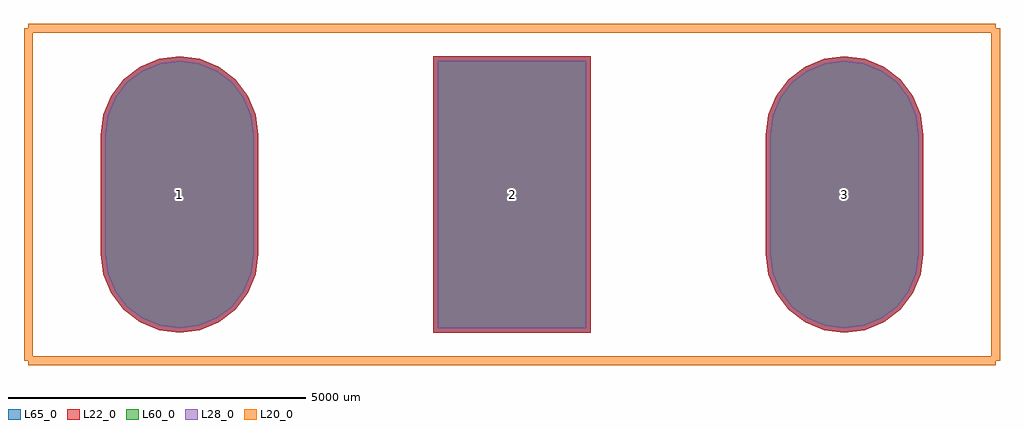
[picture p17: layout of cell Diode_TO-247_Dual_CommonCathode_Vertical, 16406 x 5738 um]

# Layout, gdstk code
import gdstk
lib = gdstk.Library(unit=1e-6, precision=1e-09)
def R(c, l, rs):  # rectangles x0, y0, x1, y1
    for r in rs: c.add(gdstk.rectangle(r[:2], r[2:], *l))
def P(c, l, *ps):  # polygons
    for p in ps: c.add(gdstk.Polygon(p, *l))
L20_0 = (20, 0)
L22_0 = (22, 0)
L28_0 = (28, 0)
L60_0 = (60, 0)
L65_0 = (65, 0)

diode_to_247_dual_common = lib.new_cell('Diode_TO-247_Dual_CommonCathode_Vertical')
R(diode_to_247_dual_common, L22_0, [(4263.32,-2325.44,6912.68,2325.44)])
P(diode_to_247_dual_common, L22_0, [(11176,-2325.44),(11518.852,-2280.303),(11838.34,-2147.967),(12112.69,-1937.45),(12323.207,-1663.1),(12455.543,-1343.612),(12500.68,-1000.76),(12500.68,1000.76),(12455.543,1343.612),(12323.207,1663.1),(12112.69,1937.45),(11838.34,2147.967),(11518.852,2280.303),(11176,2325.44),(10833.148,2280.303),(10513.66,2147.967),(10239.31,1937.45),(10028.793,1663.1),(9896.457,1343.612),(9851.32,1000.76),(9851.32,-1000.76),(9896.457,-1343.612),(10028.793,-1663.1),(10239.31,-1937.45),(10513.66,-2147.967),(10833.148,-2280.303)],
  [(0,-2325.44),(342.852,-2280.303),(662.34,-2147.967),(936.69,-1937.45),(1147.207,-1663.1),(1279.543,-1343.612),(1324.68,-1000.76),(1324.68,1000.76),(1279.543,1343.612),(1147.207,1663.1),(936.69,1937.45),(662.34,2147.967),(342.852,2280.303),(0,2325.44),(-342.852,2280.303),(-662.34,2147.967),(-936.69,1937.45),(-1147.207,1663.1),(-1279.543,1343.612),(-1324.68,1000.76),(-1324.68,-1000.76),(-1279.543,-1343.612),(-1147.207,-1663.1),(-936.69,-1937.45),(-662.34,-2147.967),(-342.852,-2280.303)])
R(diode_to_247_dual_common, L28_0, [(4338.32,-2250.44,6837.68,2250.44)])
P(diode_to_247_dual_common, L28_0, [(11176,-2250.44),(11499.441,-2207.858),(11800.84,-2083.015),(12059.657,-1884.417),(12258.255,-1625.6),(12383.098,-1324.201),(12425.68,-1000.76),(12425.68,1000.76),(12383.098,1324.201),(12258.255,1625.6),(12059.657,1884.417),(11800.84,2083.015),(11499.441,2207.858),(11176,2250.44),(10852.559,2207.858),(10551.16,2083.015),(10292.343,1884.417),(10093.745,1625.6),(9968.902,1324.201),(9926.32,1000.76),(9926.32,-1000.76),(9968.902,-1324.201),(10093.745,-1625.6),(10292.343,-1884.417),(10551.16,-2083.015),(10852.559,-2207.858)],
  [(0,-2250.44),(323.441,-2207.858),(624.84,-2083.015),(883.657,-1884.417),(1082.255,-1625.6),(1207.098,-1324.201),(1249.68,-1000.76),(1249.68,1000.76),(1207.098,1324.201),(1082.255,1625.6),(883.657,1884.417),(624.84,2083.015),(323.441,2207.858),(0,2250.44),(-323.441,2207.858),(-624.84,2083.015),(-883.657,1884.417),(-1082.255,1625.6),(-1207.098,1324.201),(-1249.68,1000.76),(-1249.68,-1000.76),(-1207.098,-1324.201),(-1082.255,-1625.6),(-883.657,-1884.417),(-624.84,-2083.015),(-323.441,-2207.858)])
R(diode_to_247_dual_common, L60_0, [(4338.32,-2250.44,6837.68,2250.44)])
P(diode_to_247_dual_common, L60_0, [(11176,-2250.44),(11499.441,-2207.858),(11800.84,-2083.015),(12059.657,-1884.417),(12258.255,-1625.6),(12383.098,-1324.201),(12425.68,-1000.76),(12425.68,1000.76),(12383.098,1324.201),(12258.255,1625.6),(12059.657,1884.417),(11800.84,2083.015),(11499.441,2207.858),(11176,2250.44),(10852.559,2207.858),(10551.16,2083.015),(10292.343,1884.417),(10093.745,1625.6),(9968.902,1324.201),(9926.32,1000.76),(9926.32,-1000.76),(9968.902,-1324.201),(10093.745,-1625.6),(10292.343,-1884.417),(10551.16,-2083.015),(10852.559,-2207.858)],
  [(0,-2250.44),(323.441,-2207.858),(624.84,-2083.015),(883.657,-1884.417),(1082.255,-1625.6),(1207.098,-1324.201),(1249.68,-1000.76),(1249.68,1000.76),(1207.098,1324.201),(1082.255,1625.6),(883.657,1884.417),(624.84,2083.015),(323.441,2207.858),(0,2250.44),(-323.441,2207.858),(-624.84,2083.015),(-883.657,1884.417),(-1082.255,1625.6),(-1207.098,1324.201),(-1249.68,1000.76),(-1249.68,-1000.76),(-1207.098,-1324.201),(-1082.255,-1625.6),(-883.657,-1884.417),(-624.84,-2083.015),(-323.441,-2207.858)])
R(diode_to_247_dual_common, L65_0, [(4263.32,-2325.44,6912.68,2325.44)])
P(diode_to_247_dual_common, L65_0, [(11176,-2325.44),(11518.852,-2280.303),(11838.34,-2147.967),(12112.69,-1937.45),(12323.207,-1663.1),(12455.543,-1343.612),(12500.68,-1000.76),(12500.68,1000.76),(12455.543,1343.612),(12323.207,1663.1),(12112.69,1937.45),(11838.34,2147.967),(11518.852,2280.303),(11176,2325.44),(10833.148,2280.303),(10513.66,2147.967),(10239.31,1937.45),(10028.793,1663.1),(9896.457,1343.612),(9851.32,1000.76),(9851.32,-1000.76),(9896.457,-1343.612),(10028.793,-1663.1),(10239.31,-1937.45),(10513.66,-2147.967),(10833.148,-2280.303)],
  [(0,-2325.44),(342.852,-2280.303),(662.34,-2147.967),(936.69,-1937.45),(1147.207,-1663.1),(1279.543,-1343.612),(1324.68,-1000.76),(1324.68,1000.76),(1279.543,1343.612),(1147.207,1663.1),(936.69,1937.45),(662.34,2147.967),(342.852,2280.303),(0,2325.44),(-342.852,2280.303),(-662.34,2147.967),(-936.69,1937.45),(-1147.207,1663.1),(-1279.543,1343.612),(-1324.68,1000.76),(-1324.68,-1000.76),(-1279.543,-1343.612),(-1147.207,-1663.1),(-936.69,-1937.45),(-662.34,-2147.967),(-342.852,-2280.303)])
diode_to_247_dual_common.add(gdstk.FlexPath([(-2540,-2794),(13716,-2794)], 149.998, ends="flush", simple_path=True, layer=20, datatype=0))  # L20_0
diode_to_247_dual_common.add(gdstk.FlexPath([(-2540,2794),(-2540,-2794)], 149.998, ends="flush", simple_path=True, layer=20, datatype=0))  # L20_0
diode_to_247_dual_common.add(gdstk.FlexPath([(13716,2794),(-2540,2794)], 149.998, ends="flush", simple_path=True, layer=20, datatype=0))  # L20_0
diode_to_247_dual_common.add(gdstk.FlexPath([(13716,-2794),(13716,2794)], 149.998, ends="flush", simple_path=True, layer=20, datatype=0))  # L20_0
diode_to_247_dual_common.add(gdstk.Label('3', (11176,0), layer=28, texttype=0))
diode_to_247_dual_common.add(gdstk.Label('1', (0,0), layer=28, texttype=0))
diode_to_247_dual_common.add(gdstk.Label('2', (5588,0), layer=28, texttype=0))
diode_to_247_dual_common.add(gdstk.Label('type', (5585.46,-3911.6), layer=9, texttype=0))
diode_to_247_dual_common.add(gdstk.Label('devicename', (5590.54,3718.56), layer=9, texttype=0))

lib.write_gds('Diode_TO-247_Dual_CommonCathode_Vertical.gds')
